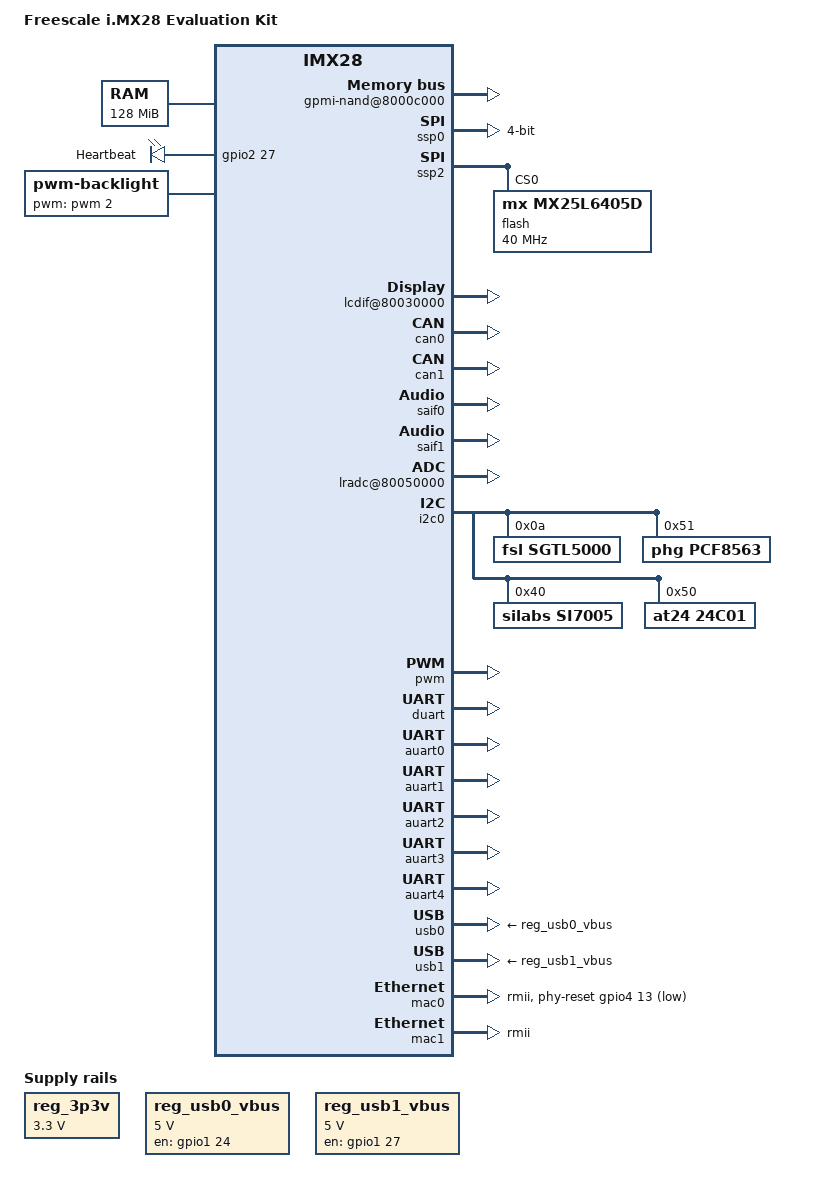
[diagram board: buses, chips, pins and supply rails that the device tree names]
/*   
 * Copyright 2012 Freescale Semiconductor, Inc.
 *
 * The code contained herein is licensed under the GNU General Public
 * License. You may obtain a copy of the GNU General Public License
 * Version 2 or later at the following locations:
 *
 * http://www.opensource.org/licenses/gpl-license.html
 * http://www.gnu.org/copyleft/gpl.html
 */

/dts-v1/;
/include/ "imx28.dtsi"

/ {
	model = "Freescale i.MX28 Evaluation Kit";
	compatible = "fsl,imx28-evk", "fsl,imx28";

	memory {
		reg = <0x40000000 0x08000000>;
	};

	apb@80000000 {
		apbh@80000000 {
			gpmi-nand@8000c000 {
				pinctrl-names = "default";
				pinctrl-0 = <&gpmi_pins_a &gpmi_status_cfg
					     &gpmi_pins_evk>;
				status = "okay";
			partition@0 {
			label = "kernel";
			reg = <0x00000000 0x01400000>;
			};
			
			partition@1 {
			label = "rootfs0";
			reg = <0x01400000 0x7ec00000>;
			};
			};

			ssp0: ssp@80010000 {
				compatible = "fsl,imx28-mmc";
				pinctrl-names = "default";
				pinctrl-0 = <&mmc0_4bit_pins_a  
					&mmc0_cd_cfg &mmc0_sck_cfg>;
				bus-width = <4>;                
//				vmmc-supply = <&reg_vddio_sd0>;
				status = "okay";
			};

			ssp2: ssp@80014000 {
				#address-cells = <1>;
				#size-cells = <0>;
				compatible = "fsl,imx28-spi";
				pinctrl-names = "default";
				pinctrl-0 = <&spi2_pins_a>;
				status = "okay";

				flash: m25p80@0 {
					#address-cells = <1>;
					#size-cells = <1>;
					compatible = "mx,mx25l6405d";
					spi-max-frequency = <40000000>;
					reg = <0>;
				};
			};

			pinctrl@80018000 {
				pinctrl-names = "default";
				pinctrl-0 = <&hog_pins_a>;

				hog_pins_a: hog@0 {
					reg = <0>;
					fsl,pinmux-ids = <
//						0x31e3 /* Relay1  */
//						0x1193 /* Relay2  */
						0x40d3 /* FEC RESET  */

						0x11B3 /* USB1 PWR */
						0x1183 /* USB0 PWR */
					>;
					fsl,drive-strength = <0>;
					fsl,voltage = <1>;
					fsl,pull-up = <0>;
				};


				led_pin_gpio2_27: led_gpio2_27@0 { 
					reg = <0>;               
					fsl,pinmux-ids = <
						0x21b3 /* GPIO_2_27 */
					>;                 
					fsl,drive-strength = <0>;      
					fsl,voltage = <1>;             
 					fsl,pull-up = <0>;             
				};                                     

				gpmi_pins_evk: gpmi-nand-evk@0 {
					reg = <0>;
					fsl,pinmux-ids = <
						0x0110 /* MX28_PAD_GPMI_CE1N__GPMI_CE1N */
						0x0150 /* MX28_PAD_GPMI_RDY1__GPMI_READY1 */
					>;
					fsl,drive-strength = <0>;
					fsl,voltage = <1>;
					fsl,pull-up = <0>;
				};

				lcdif_pins_evk: lcdif-evk@0 {
					reg = <0>;
					fsl,pinmux-ids = <
						0x11c0 /* MX28_PAD__LCD_VSYNC ruslan  */
						0x11d0 /* MX28_PAD__LCD_HSYNC ruslan */
						0x11e0 /* MX28_PAD__LCD_DOTCLK ruslan */
						0x11f0 /* MX28_PAD__LCD_ENABLE ruslan */
					>;
					fsl,drive-strength = <0>;
					fsl,voltage = <1>;
					fsl,pull-up = <0>;
				};

			};

			lcdif@80030000 {
				pinctrl-names = "default";
				pinctrl-0 = <&lcdif_24bit_pins_a
					     &lcdif_pins_evk>;
				panel-enable-gpios = <&gpio1 31 0>;
				status = "okay";
			};

			can0: can@80032000 {
				pinctrl-names = "default";
				pinctrl-0 = <&can0_pins_a>;
				status = "okay";
			};

			can1: can@80034000 {
				pinctrl-names = "default";
				pinctrl-0 = <&can1_pins_a>;
				status = "okay";
			};
		};

		apbx@80040000 {
			saif0: saif@80042000 {
				pinctrl-names = "default";
				pinctrl-0 = <&saif0_pins_a>;
				status = "okay";
			};

			saif1: saif@80046000 {
				pinctrl-names = "default";
				pinctrl-0 = <&saif1_pins_a>;
				fsl,saif-master = <&saif0>;
				status = "okay";
			};

			lradc@80050000 {
				status = "okay";
			};

			i2c0: i2c@80058000 {
				pinctrl-names = "default";
				pinctrl-0 = <&i2c0_pins_a>;
				status = "okay";

				sgtl5000: codec@0a {
					compatible = "fsl,sgtl5000";
					reg = <0x0a>;
				};
				
				pcf8563: rtc@51 {                    
					compatible = "phg,pcf8563";
					reg = <0x51>;
				};
				
				si7005  {                    
					compatible = "silabs,si7005";
					reg = <0x40>;
				};
				

				at24@50 {
					compatible = "at24,24c01"; 
					pagesize = <32>;
					reg = <0x50>;
				};
			};

			pwm: pwm@80064000 {
				pinctrl-names = "default";
				pinctrl-0 = <&pwm2_pins_a>;
				status = "okay";
			};

			duart: serial@80074000 {
				pinctrl-names = "default";
				pinctrl-0 = <&duart_pins_a>;
				status = "okay";
			};

			auart0: serial@8006a000 {
				pinctrl-names = "default";
				pinctrl-0 = <&auart0_2pins_a>; 
				status = "okay";
			};
			
			auart1: serial@8006c000 {
				pinctrl-names = "default";
				pinctrl-0 = <&auart1_2pins_a>; 
				status = "okay";
			};
			
			auart2: serial@8006e000 {
			        pinctrl-names = "default";
			        pinctrl-0 = <&auart2_2pins_a>;
			        status = "okay";
			};
			
			auart3: serial@80070000 {
				pinctrl-names = "default";
				pinctrl-0 = <&auart3_pins_a>;
				status = "okay";
			};
			
			auart4: serial@80072000 {
				pinctrl-names = "default";
				pinctrl-0 = <&auart4_pins_a>;
				status = "okay";
			};
			 
			                                                                                                                                                                                        

			usbphy0: usbphy@8007c000 {
				status = "okay";
			};

			usbphy1: usbphy@8007e000 {
				status = "okay";
			};
		};
	};

	ahb@80080000 {
		usb0: usb@80080000 {
			vbus-supply = <&reg_usb0_vbus>;
			status = "okay";
		};

		usb1: usb@80090000 {
			vbus-supply = <&reg_usb1_vbus>;
			status = "okay";
		};

		mac0: ethernet@800f0000 {
			phy-mode = "rmii";
			pinctrl-names = "default";
			pinctrl-0 = <&mac0_pins_a>;
			phy-reset-gpios = <&gpio4 13 0>;
			phy-reset-duration = <100>;
			status = "okay";
		};

		mac1: ethernet@800f4000 {
			phy-mode = "rmii";
			pinctrl-names = "default";
			pinctrl-0 = <&mac1_pins_a>;
			status = "okay";
		};
	};

	regulators {
		compatible = "simple-bus";

		reg_3p3v: 3p3v {
			compatible = "regulator-fixed";
			regulator-name = "3P3V";
			regulator-min-microvolt = <3300000>;
			regulator-max-microvolt = <3300000>;
			regulator-always-on;
		};

		reg_usb0_vbus: usb0_vbus {
			compatible = "regulator-fixed";
			regulator-name = "usb0_vbus";
			regulator-min-microvolt = <5000000>;
			regulator-max-microvolt = <5000000>;
			gpio = <&gpio1 24 0>;   // ruslan
			enable-active-high;
		};

		reg_usb1_vbus: usb1_vbus {
			compatible = "regulator-fixed";
			regulator-name = "usb1_vbus";
			regulator-min-microvolt = <5000000>;
			regulator-max-microvolt = <5000000>;
			gpio = <&gpio1 27 0>;   // ruslan
			enable-active-high;
		};
	};

	sound {
		compatible = "fsl,imx28-evk-sgtl5000",
			     "fsl,mxs-audio-sgtl5000";
		model = "imx28-evk-sgtl5000";
		saif-controllers = <&saif0 &saif1>;
		audio-codec = <&sgtl5000>;
	};

	leds {                                                            
		compatible = "gpio-leds";                                 
		pinctrl-names = "default";                                
		pinctrl-0 = <&led_pin_gpio2_27>;                           
                                                                          
		user {                                                    
			label = "Heartbeat";                              
			gpios = <&gpio2 27 0>;                            
			linux,default-trigger = "heartbeat";               
		};                                                       
	};                                                                

	backlight {
		compatible = "pwm-backlight";
		pwms = <&pwm 2 5000000>;
		brightness-levels = <0 4 8 16 32 64 128 255>;
		default-brightness-level = <6>;
	};
};
